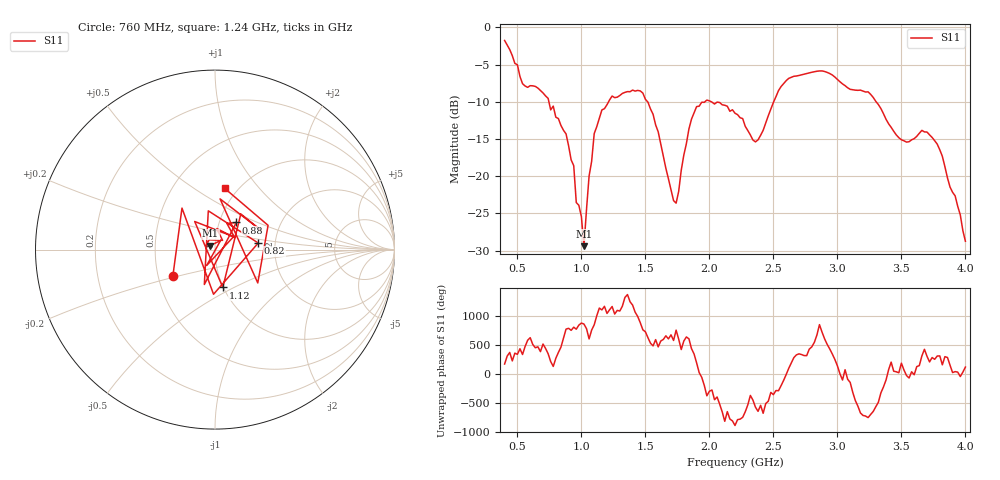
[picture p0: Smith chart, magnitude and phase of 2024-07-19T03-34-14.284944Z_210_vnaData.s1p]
!Created with skrf (http://scikit-rf.org).
# Hz S RI R 50.0
!freq ReS11 ImS11
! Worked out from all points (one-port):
!   181 points, 400 MHz to 4 GHz, reference 50 ohm
!   lowest |S11| = -29.4 dB at 1.02 GHz (marker M1), VSWR 1.07, Z = 47.5 + j2.12 ohm
!   |S11| at or under -10 dB: 745.8 MHz to 1.212 GHz (466.6 MHz wide, 47.7 % of centre); 2.014 GHz to 2.502 GHz (488.2 MHz wide, 21.6 % of centre); 3.302 GHz to end of sweep (the widest 3 of 4)
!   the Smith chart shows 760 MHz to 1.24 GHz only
!   S11 on the Smith chart (normalised r, x): 760 MHz: 0.60, -0.19; 820 MHz: 1.63, +0.13; 880 MHz: 1.20, +0.38; 1.12 GHz: 0.99, -0.44; 1.24 GHz: 0.87, +0.67
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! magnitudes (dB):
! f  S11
! 400 MHz  -1.8
! 540 MHz  -7.6
! 760 MHz  -11.1
! 820 MHz  -12.3
! 860 MHz  -13.8
! 880 MHz  -14.3
! 940 MHz  -18.6
! 960 MHz  -23.6
! 1 GHz  -25.4
! 1.02 GHz  -29.4
! 1.06 GHz  -20.0
! 1.12 GHz  -13.4
! 1.24 GHz  -9.2
! 1.3 GHz  -9.2
! 1.48 GHz  -8.8
! 1.6 GHz  -14.0
! 1.72 GHz  -23.3
! 1.76 GHz  -22.0
! 1.84 GHz  -13.7
! 1.9 GHz  -10.7
! 2.2 GHz  -11.5
! 2.36 GHz  -15.4
! 2.66 GHz  -6.6
! 3.1 GHz  -8.3
! 3.24 GHz  -8.7
! 3.56 GHz  -15.4
! 3.78 GHz  -15.7
! 4 GHz  -28.8
